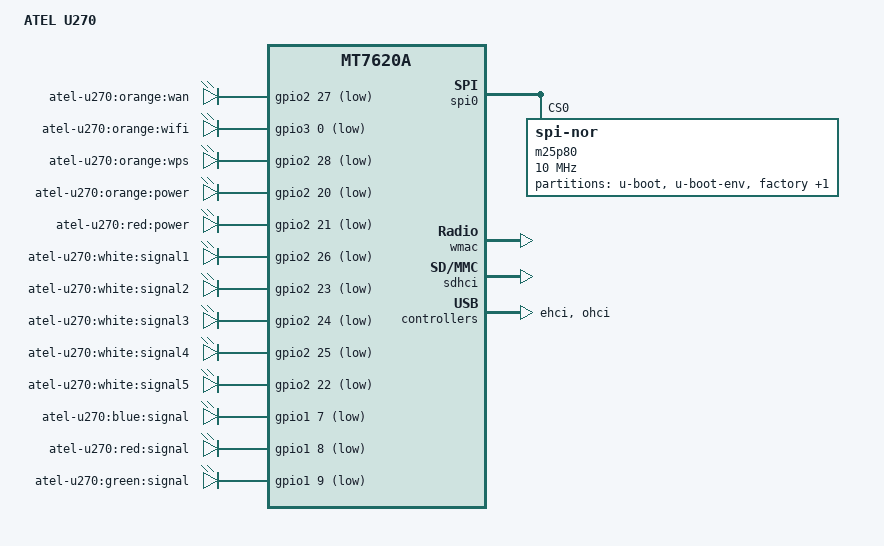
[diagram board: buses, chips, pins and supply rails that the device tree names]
/dts-v1/;

#include "mt7620a.dtsi"

/ {
	compatible = "ATEL-U270", "ralink,mt7620a-soc";
	model = "ATEL U270";

	gpio-leds {
		compatible = "gpio-leds";
		wan {
			label = "atel-u270:orange:wan";
			gpios = <&gpio2 27 1>;
		};
		wifi {
			label = "atel-u270:orange:wifi";
			gpios = <&gpio3 0 1>;
		};
		wps {
			label = "atel-u270:orange:wps";
			gpios = <&gpio2 28 1>;
		};
		power {
			label = "atel-u270:orange:power";
			gpios = <&gpio2 20 1>;
		};
		power-red {
			label = "atel-u270:red:power";
			gpios = <&gpio2 21 1>;
		};
  signal1 {
   label = "atel-u270:white:signal1";
   gpios = <&gpio2 26 1>;
  };
  signal2 {
   label = "atel-u270:white:signal2";
   gpios = <&gpio2 23 1>;
  };
  signal3 {
   label = "atel-u270:white:signal3";
   gpios = <&gpio2 24 1>;
  };
  signal4 {
   label = "atel-u270:white:signal4";
   gpios = <&gpio2 25 1>;
  };
  signal5 {
   label = "atel-u270:white:signal5";
   gpios = <&gpio2 22 1>;
  };
  signal-blue {
   label = "atel-u270:blue:signal";
   gpios = <&gpio1 7 1>;
  };
  signal-red {
   label = "atel-u270:red:signal";
   gpios = <&gpio1 8 1>;
  };
  signal-green {
   label = "atel-u270:green:signal";
   gpios = <&gpio1 9 1>;
  };
	};

	gpio-keys-polled {
		compatible = "gpio-keys-polled";
		#address-cells = <1>;
		#size-cells = <0>;
		poll-interval = <20>;
/*		power {
			label = "power";
			gpios = <&gpio2 31 1>;
			linux,code = <0x198>;
		};
		wps {
			label = "wps";
			gpios = <&gpio2 30 1>;
			linux,code = <0x211>;
	 };
  */
	};

	gpio_export {
		compatible = "gpio-export";
		#size-cells = <0>;

/*		usbpower {
			gpio-export,name = "usbpower";
			gpio-export,output = <1>;
			gpios = <&gpio2 12 1>;
		};*/
	};
};

&gpio0 {
	status = "okay";
};

&gpio1 {
	status = "okay";
};

&gpio2 {
	status = "okay";
};

&gpio3 {
	status = "okay";
};

&spi0 {
	status = "okay";

	m25p80@0 {
		#address-cells = <1>;
		#size-cells = <1>;
		compatible = "jedec,spi-nor";
		reg = <0>;
		linux,modalias = "m25p80", "w25q256";
		spi-max-frequency = <10000000>;

		partition@0 {
			label = "u-boot";
			reg = <0x0 0x30000>;
			read-only;
		};

		partition@30000 {
			label = "u-boot-env";
			reg = <0x30000 0x10000>;
			read-only;
		};

		factory: partition@40000 {
			label = "factory";
			reg = <0x40000 0x10000>;
			read-only;
		};

		partition@50000 {
			label = "firmware";
			reg = <0x50000 0x7b0000>;
		};
	};
};

&pinctrl {
	state_default: pinctrl0 {
		default {
			ralink,group = "i2c", "uartf", "rgmii1", "rgmii2", "ephy", "wled", "nd_sd";
			ralink,function = "gpio";
		};
	};
};

&ethernet {
	pinctrl-names = "default";
	pinctrl-0 = <&ephy_pins>;
	mtd-mac-address = <&factory 0x4>;
	mediatek,portmap = "llllw";
};

&wmac {
	ralink,mtd-eeprom = <&factory 0>;
};

&sdhci {
	status = "okay";
};

&ehci {
	status = "okay";
};

&ohci {
	status = "okay";
};
